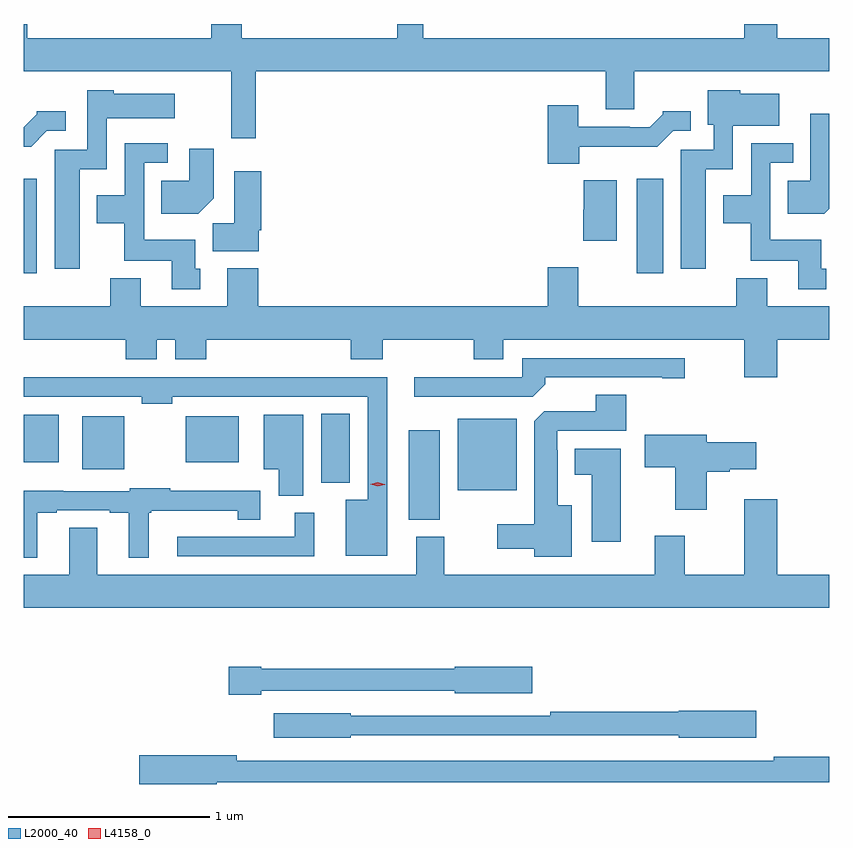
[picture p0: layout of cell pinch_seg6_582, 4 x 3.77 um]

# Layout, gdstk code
import gdstk
lib = gdstk.Library(unit=1e-6, precision=1e-09)
def R(c, l, rs):  # rectangles x0, y0, x1, y1
    for r in rs: c.add(gdstk.rectangle(r[:2], r[2:], *l))
def P(c, l, *ps):  # polygons
    for p in ps: c.add(gdstk.Polygon(p, *l))
L2000_40 = (2000, 40)
L4158_0 = (4158, 0)

pinch_seg6_582 = lib.new_cell('pinch_seg6_582')
R(pinch_seg6_582, L2000_40, [(403.103,978.409,403.258,978.853), (403.346,978.557,403.639,978.91), (402.668,978.593,402.811,978.935), (401.483,978.659,401.692,978.922), (401.191,978.695,401.365,978.931), (401.996,978.695,402.259,978.922), (401.191,979.632,401.257,980.101), (404.234,979.632,404.365,980.101)])
P(pinch_seg6_582, L2000_40, [(402.344,980.636),(404.081,980.636),(404.081,980.446),(404.221,980.446),(404.221,980.636),(405.191,980.636),(405.191,980.8),(404.932,980.8),(404.932,980.87),(404.768,980.87),(404.768,980.8),(403.175,980.8),(403.175,980.87),(403.046,980.87),(403.046,980.8),(402.274,980.8),(402.274,980.87),(402.122,980.87),(402.122,980.8),(401.21,980.8),(401.21,980.87),(401.191,980.87),(401.191,980.636),(402.223,980.636),(402.223,980.304),(402.344,980.304)],
  [(404.578,980.15),(404.712,980.15),(404.712,980.366),(404.941,980.366),(404.941,980.524),(404.748,980.524),(404.748,980.542),(404.588,980.542),(404.588,980.37),(404.616,980.37),(404.616,980.247),(404.453,980.247),(404.453,979.656),(404.578,979.656)],
  [(401.47,980.15),(401.604,980.15),(401.604,980.402),(401.941,980.402),(401.941,980.524),(401.64,980.524),(401.64,980.542),(401.508,980.542),(401.508,980.247),(401.345,980.247),(401.345,979.656),(401.47,979.656)],
  [(403.948,980.262),(404.337,980.262),(404.415,980.34),(404.503,980.34),(404.503,980.437),(404.364,980.437),(404.364,980.422),(404.3,980.358),(404.201,980.358),(404.201,980.361),(403.945,980.361),(403.945,980.467),(403.793,980.467),(403.793,980.177),(403.948,980.177)],
  [(401.307,980.34),(401.401,980.34),(401.401,980.437),(401.256,980.437),(401.256,980.422),(401.192,980.358),(401.191,980.358),(401.191,980.262),(401.229,980.262)],
  [(405.191,979.953),(405.191,980.425),(405.095,980.425),(405.095,980.092),(404.983,980.092),(404.983,979.928),(405.166,979.928)],
  [(405.175,979.656),(405.151,979.656),(405.151,979.798),(404.898,979.798),(404.898,980.181),(405.01,980.181),(405.01,980.277),(404.802,980.277),(404.802,980.02),(404.663,980.02),(404.663,979.88),(404.8,979.88),(404.8,979.694),(405.035,979.694),(405.035,979.554),(405.175,979.554)],
  [(402.067,979.656),(402.043,979.656),(402.043,979.798),(401.79,979.798),(401.79,980.181),(401.908,980.181),(401.908,980.277),(401.694,980.277),(401.694,980.02),(401.555,980.02),(401.555,979.88),(401.692,979.88),(401.692,979.694),(401.927,979.694),(401.927,979.554),(402.067,979.554)],
  [(402.136,980.006),(402.136,980.251),(402.014,980.251),(402.014,980.092),(401.875,980.092),(401.875,979.928),(402.058,979.928)],
  [(402.358,979.846),(402.371,979.846),(402.371,980.14),(402.236,980.14),(402.236,979.88),(402.131,979.88),(402.131,979.742),(402.358,979.742)],
  [(404.134,980.095),(403.972,980.095),(403.972,979.947),(403.97,979.947),(403.97,979.794),(404.134,979.794)],
  [(404.932,979.304),(405.191,979.304),(405.191,979.468),(404.881,979.468),(404.881,979.609),(404.729,979.609),(404.729,979.468),(403.945,979.468),(403.945,979.663),(403.793,979.663),(403.793,979.468),(402.356,979.468),(402.356,979.657),(402.203,979.657),(402.203,979.468),(401.773,979.468),(401.773,979.609),(401.621,979.609),(401.621,979.468),(401.191,979.468),(401.191,979.304),(401.699,979.304),(401.699,979.205),(401.851,979.205),(401.851,979.304),(401.945,979.304),(401.945,979.205),(402.098,979.205),(402.098,979.304),(402.815,979.304),(402.815,979.205),(402.975,979.205),(402.975,979.304),(403.426,979.304),(403.426,979.205),(403.573,979.205),(403.573,979.304),(404.768,979.304),(404.768,979.116),(404.932,979.116)],
  [(403.781,979.082),(403.781,979.116),(404.36,979.116),(404.36,979.111),(404.473,979.111),(404.473,979.212),(403.665,979.212),(403.665,979.116),(403.131,979.116),(403.131,979.02),(403.719,979.02)],
  [(402.996,978.895),(402.997,978.895),(402.997,979.116),(402.731,979.116),(402.731,979.118),(402.181,979.118),(402.181,979.116),(401.678,979.116),(401.678,979.118),(401.191,979.118),(401.191,979.02),(401.778,979.02),(401.778,978.985),(401.928,978.985),(401.928,979.02),(402.9,979.02),(402.9,978.508),(402.791,978.508),(402.791,978.23),(402.996,978.23)],
  [(403.912,978.481),(403.843,978.481),(403.843,978.755),(403.839,978.755),(403.839,978.852),(404.183,978.852),(404.183,979.031),(404.03,979.031),(404.03,978.948),(403.776,978.948),(403.727,978.899),(403.727,978.388),(403.542,978.388),(403.542,978.266),(403.727,978.266),(403.727,978.227),(403.912,978.227)],
  [(402.58,978.931),(402.383,978.931),(402.383,978.659),(402.458,978.659),(402.458,978.529),(402.58,978.529)],
  [(404.581,978.647),(404.696,978.647),(404.696,978.659),(404.827,978.659),(404.827,978.794),(404.581,978.794),(404.581,978.832),(404.274,978.832),(404.274,978.67),(404.426,978.67),(404.426,978.459),(404.581,978.459)],
  [(404.155,978.763),(403.928,978.763),(403.928,978.632),(404.012,978.632),(404.012,978.3),(404.155,978.3)],
  [(401.26,978.444),(401.356,978.444),(401.356,978.456),(401.618,978.456),(401.618,978.444),(401.714,978.444),(401.714,978.221),(401.812,978.221),(401.812,978.444),(401.824,978.444),(401.824,978.455),(402.254,978.455),(402.254,978.409),(402.367,978.409),(402.367,978.553),(401.918,978.553),(401.918,978.565),(401.718,978.565),(401.718,978.552),(401.387,978.552),(401.387,978.553),(401.191,978.553),(401.191,978.221),(401.26,978.221)],
  [(405.191,978.136),(404.932,978.136),(404.932,978.511),(404.768,978.511),(404.768,978.136),(404.472,978.136),(404.472,978.331),(404.324,978.331),(404.324,978.136),(403.279,978.136),(403.279,978.324),(403.139,978.324),(403.139,978.136),(401.557,978.136),(401.557,978.371),(401.417,978.371),(401.417,978.136),(401.191,978.136),(401.191,977.972),(405.191,977.972)],
  [(402.634,978.444),(402.536,978.444),(402.536,978.324),(401.955,978.324),(401.955,978.228),(402.634,978.228)],
  [(402.372,977.562),(403.332,977.562),(403.332,977.549),(403.717,977.549),(403.717,977.679),(403.332,977.679),(403.332,977.671),(402.372,977.671),(402.372,977.679),(402.21,977.679),(402.21,977.542),(402.372,977.542)],
  [(402.816,977.34),(404.442,977.34),(404.442,977.327),(404.827,977.327),(404.827,977.462),(404.442,977.462),(404.442,977.456),(403.804,977.456),(403.804,977.436),(402.816,977.436),(402.816,977.449),(402.432,977.449),(402.432,977.327),(402.816,977.327)],
  [(402.15,977.106),(405.191,977.106),(405.191,977.234),(404.914,977.234),(404.914,977.214),(402.25,977.214),(402.25,977.24),(401.766,977.24),(401.766,977.098),(402.15,977.098)])
P(pinch_seg6_582, L4158_0, [(402.949,978.575),(402.913,978.585),(402.913,978.585),(402.913,978.585),(402.949,978.595),(402.985,978.585),(402.986,978.584),(402.985,978.584)])

lib.write_gds('pinch_seg6_582.gds')
